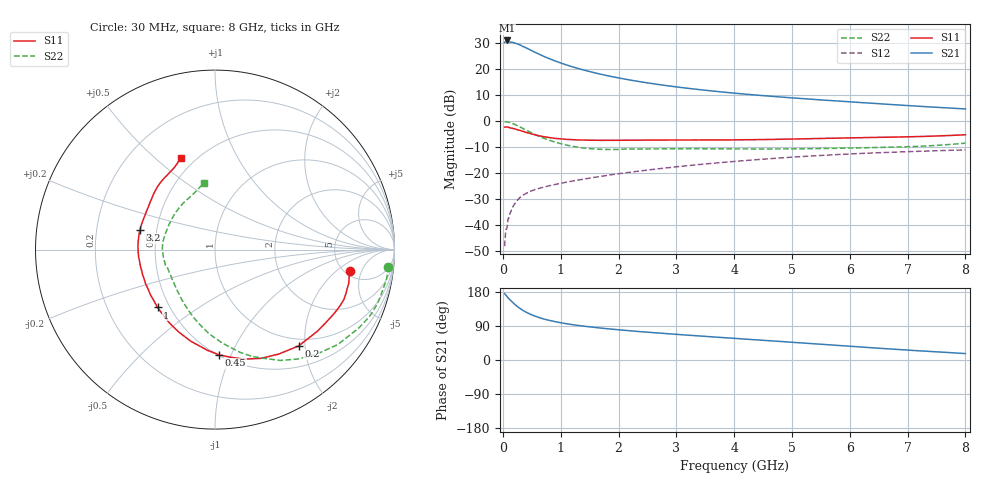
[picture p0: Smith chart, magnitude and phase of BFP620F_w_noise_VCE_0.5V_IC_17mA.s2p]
! Infineon Technologies  Discrete & RF Semiconductors
! BFP620F
! VCE =  0.5 V,  IC =  17 mA
! Common Emitter S-Parameters:  Dec 2014
# GHz  S  MA  R  50
!  f  S11  S21  S12  S22
! GHz  MAG  ANG  MAG  ANG  MAG  ANG  MAG  ANG
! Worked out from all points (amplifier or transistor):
!   95 points, 30 MHz to 8 GHz, reference 50 ohm
!   highest |S21| = 31.0 dB at 70 MHz (marker M1)
!   |S21| within 3 dB of that: start of sweep to 416 MHz
!   unconditionally stable (mu >= 1): 3.05 GHz to end of sweep
!   at 300 MHz: K = 0.24, MSG = 29.3 dB, |S12| = -29.3 dB
!   at 3.3 GHz: K = 1.01, MAG = 14.0 dB, |S12| = -17.0 dB
!   at 8 GHz: K = 1.08, MAG = 6.2 dB, |S12| = -11.1 dB
!   lowest NFmin = 0.76 dB at 450 MHz
!   S11 on the Smith chart (normalised r, x): 30 MHz: 5.58, -3.19; 200 MHz: 0.86, -1.87; 450 MHz: 0.50, -0.90; 1 GHz: 0.43, -0.35; 3.2 GHz: 0.40, +0.11; 8 GHz: 0.42, +0.61
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0.03  0.7632 -9.0  32.52 175.3  0.0039 91.9  0.9694 -5.6
0.05  0.7685 -14.2  34.59 171.5  0.008 85.7  0.9704 -9.5
0.07  0.7697 -18.8  35.61 167.9  0.0087 90.2  0.9614 -13.3
0.09  0.764 -24.0  35.02 164.1  0.0131 80.8  0.9549 -17.5
0.12  0.7432 -31.7  33.17 159.3  0.0162 75.8  0.9377 -23.4
0.15  0.7296 -38.6  33.11 154.8  0.0202 72.5  0.9107 -28.9
0.2  0.7106 -49.1  31.84 147.6  0.0251 68.5  0.8655 -37.6
0.25  0.6819 -58.6  30.68 141.2  0.0298 64.4  0.8143 -45.5
0.3  0.6585 -66.9  29.19 135.6  0.0341 62.3  0.7645 -52.9
0.35  0.6312 -75.2  27.09 130.6  0.0373 59.5  0.7167 -59.5
0.45  0.5862 -87.9  24.14 122.6  0.0429 55.9  0.6288 -71.0
0.6  0.5281 -104.8  19.98 113.4  0.0497 52.5  0.5225 -85.5
0.7  0.501 -114.0  17.75 108.5  0.0531 51.2  0.4709 -93.9
1  0.4543 -134.8  13.12 98.3  0.0633 50.3  0.3666 -114.3
1.4  0.431 -153.7  9.594 89.3  0.0763 50.8  0.3024 -136.7
2  0.4256 -172.1  6.77 79.8  0.0968 50.8  0.284 -160.5
2.7  0.4304 173.5  5.039 71.1  0.1208 49.0  0.291 -175.5
3.2  0.4318 165.3  4.27 65.5  0.1385 47.1  0.2934 177.0
4.1  0.4354 152.8  3.368 56.1  0.1703 42.5  0.2907 165.1
5.4  0.4598 138.5  2.601 42.6  0.2143 34.0  0.2948 144.8
6.7  0.4896 124.6  2.087 29.1  0.2501 24.2  0.314 123.7
8  0.5449 110.6  1.71 16.9  0.2785 14.6  0.3752 99.8
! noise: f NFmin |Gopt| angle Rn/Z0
0.45  0.76  0.1  6  0.21
0.9  0.82  0.1  17  0.18
1.5  0.87  0.09  18  0.13
1.8  0.89  0.09  19  0.13
1.9  0.9  0.05  35  0.15
2.4  0.94  0.04  56  0.13
3.5  1.02  0.04  106  0.14
5.5  1.16  0.12  -145  0.09
6  1.2  0.12  240  0.13
